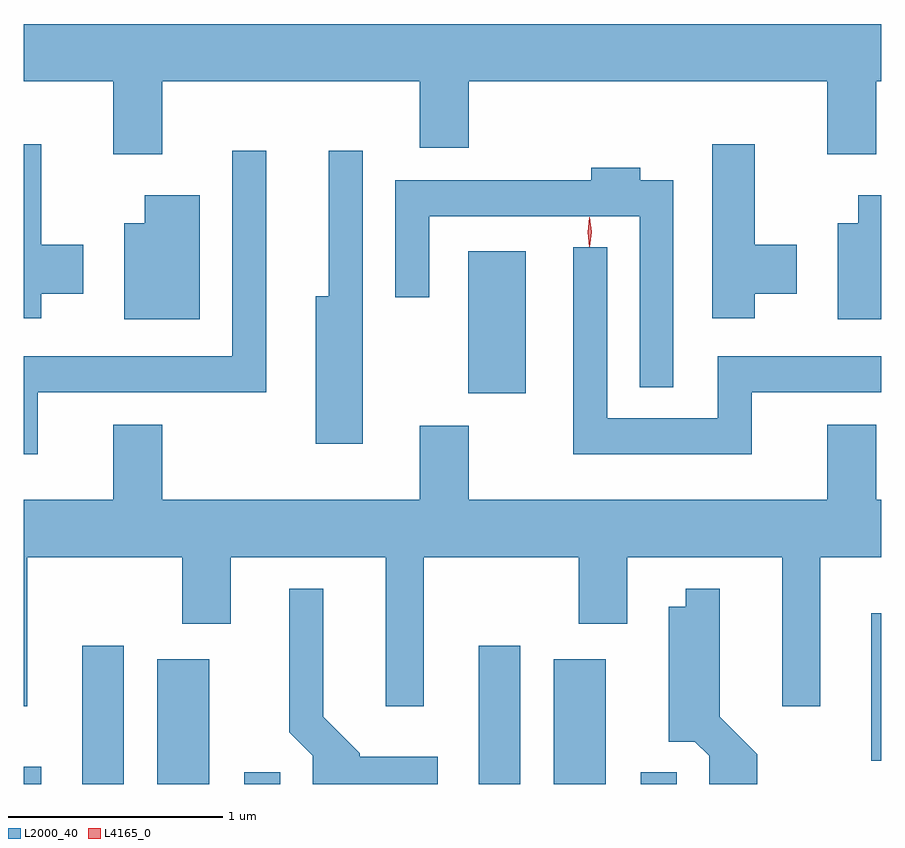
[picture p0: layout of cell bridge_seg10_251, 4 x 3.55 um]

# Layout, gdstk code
import gdstk
lib = gdstk.Library(unit=1e-6, precision=1e-09)
def R(c, l, rs):  # rectangles x0, y0, x1, y1
    for r in rs: c.add(gdstk.rectangle(r[:2], r[2:], *l))
def P(c, l, *ps):  # polygons
    for p in ps: c.add(gdstk.Polygon(p, *l))
L2000_40 = (2000, 40)
L4165_0 = (4165, 0)

bridge_seg10_251 = lib.new_cell('bridge_seg10_251')
R(bridge_seg10_251, L2000_40, [(1820.843,2099.538,1820.924,2099.619), (1821.116,2099.538,1821.309,2100.184), (1821.466,2099.538,1821.709,2100.119), (1821.871,2099.538,1822.039,2099.593), (1822.966,2099.538,1823.159,2100.184), (1823.316,2099.538,1823.559,2100.119), (1823.721,2099.538,1823.889,2099.593), (1824.796,2099.646,1824.843,2100.334), (1822.916,2101.361,1823.184,2102.024)])
P(bridge_seg10_251, L2000_40, [(1821.489,2102.816),(1822.691,2102.816),(1822.691,2102.506),(1822.919,2102.506),(1822.919,2102.816),(1824.591,2102.816),(1824.591,2102.476),(1824.819,2102.476),(1824.819,2102.816),(1824.843,2102.816),(1824.843,2103.084),(1820.843,2103.084),(1820.843,2102.816),(1821.261,2102.816),(1821.261,2102.476),(1821.489,2102.476)],
  [(1824.254,2101.826),(1824.449,2101.826),(1824.449,2102.054),(1824.254,2102.054),(1824.254,2102.524),(1824.056,2102.524),(1824.056,2101.711),(1824.254,2101.711)],
  [(1820.924,2101.826),(1821.119,2101.826),(1821.119,2102.054),(1820.924,2102.054),(1820.924,2102.524),(1820.843,2102.524),(1820.843,2101.711),(1820.924,2101.711)],
  [(1820.909,2101.366),(1821.974,2101.366),(1821.974,2102.493),(1821.816,2102.493),(1821.816,2101.534),(1820.843,2101.534),(1820.843,2101.076),(1820.909,2101.076)],
  [(1822.424,2102.493),(1822.266,2102.493),(1822.266,2101.814),(1822.206,2101.814),(1822.206,2101.126),(1822.424,2101.126)],
  [(1823.874,2102.354),(1823.719,2102.354),(1823.719,2102.414),(1823.491,2102.414),(1823.491,2102.354),(1822.576,2102.354),(1822.576,2101.808),(1822.734,2101.808),(1822.734,2102.186),(1823.716,2102.186),(1823.716,2101.388),(1823.874,2101.388)],
  [(1821.664,2102.284),(1821.406,2102.284),(1821.406,2102.154),(1821.311,2102.154),(1821.311,2101.706),(1821.664,2101.706)],
  [(1824.843,2102.284),(1824.736,2102.284),(1824.736,2102.154),(1824.641,2102.154),(1824.641,2101.706),(1824.843,2101.706)],
  [(1824.239,2101.366),(1824.843,2101.366),(1824.843,2101.534),(1824.081,2101.534),(1824.081,2101.244),(1823.564,2101.244),(1823.564,2102.043),(1823.406,2102.043),(1823.406,2101.076),(1824.239,2101.076)],
  [(1820.859,2100.596),(1821.581,2100.596),(1821.581,2100.286),(1821.809,2100.286),(1821.809,2100.596),(1822.531,2100.596),(1822.531,2099.901),(1822.709,2099.901),(1822.709,2100.596),(1823.431,2100.596),(1823.431,2100.286),(1823.659,2100.286),(1823.659,2100.596),(1824.381,2100.596),(1824.381,2099.901),(1824.559,2099.901),(1824.559,2100.596),(1824.843,2100.596),(1824.843,2100.864),(1824.819,2100.864),(1824.819,2101.214),(1824.591,2101.214),(1824.591,2100.864),(1822.919,2100.864),(1822.919,2101.209),(1822.691,2101.209),(1822.691,2100.864),(1821.489,2100.864),(1821.489,2101.214),(1821.261,2101.214),(1821.261,2100.864),(1820.843,2100.864),(1820.843,2099.901),(1820.859,2099.901)],
  [(1824.264,2099.677),(1824.089,2099.852),(1824.089,2100.448),(1823.931,2100.448),(1823.931,2100.364),(1823.851,2100.364),(1823.851,2099.736),(1823.974,2099.736),(1824.041,2099.669),(1824.041,2099.538),(1824.264,2099.538)],
  [(1822.774,2099.664),(1822.41,2099.664),(1822.41,2099.681),(1822.239,2099.852),(1822.239,2100.448),(1822.081,2100.448),(1822.081,2099.779),(1822.191,2099.669),(1822.191,2099.538),(1822.774,2099.538)])
P(bridge_seg10_251, L4165_0, [(1823.483,2102.047),(1823.483,2102.048),(1823.473,2102.114),(1823.483,2102.18),(1823.483,2102.181),(1823.484,2102.18),(1823.493,2102.114),(1823.484,2102.048)],
  [(1823.482,2102.044),(1823.473,2102.113),(1823.482,2102.182),(1823.483,2102.183),(1823.483,2102.182),(1823.493,2102.113),(1823.483,2102.044),(1823.483,2102.044)])

lib.write_gds('bridge_seg10_251.gds')
